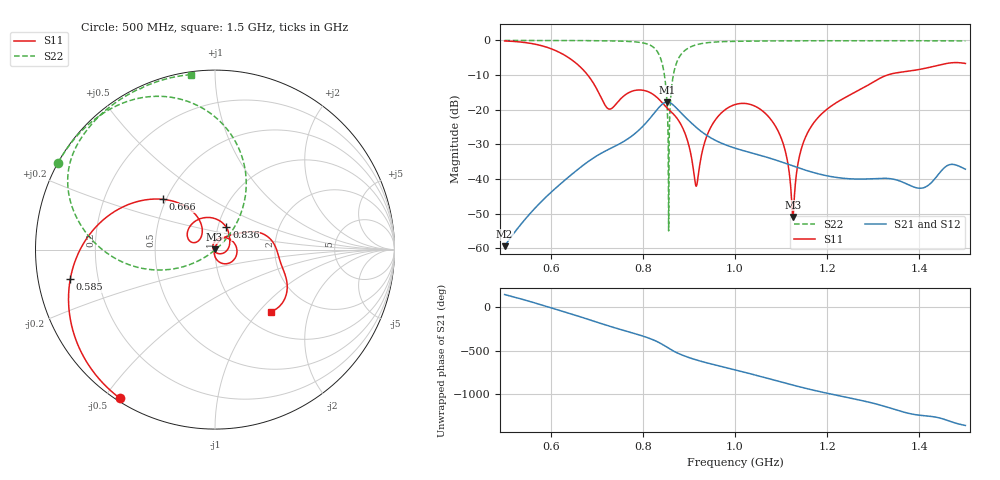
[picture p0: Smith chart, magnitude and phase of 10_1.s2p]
! TOUCHSTONE file generated by CST MICROWAVE STUDIO
! Date and time: Fri Oct  2 18:47:41 2020
! Project name: Scenario_1_Free_Space_out_of_line.cst
! Parameters = {Lambda=346.42; Step_1=17.321; dy1=191.571; dx1=173; L_HA=400; MT=2.54; Rad_Dielectric=30; Rad_Lower=7.3; Rad_Upper=30; a_HA=580; a_WG=246; b_HA=500; b_WG=121; c_HA=0; c_WG=187; d_feed=85; h_feed=15; h_lower=18; h_upper=40}
! Header version: 2018
! Port assignment regex: !\s*Touchstone port\s*([0-9]+)\s*=\s*(CST MWS port|CST DS port)\s*([0-9]+|Zmin|Zmax)\s*\(\"(.*)\"\)(\s*mode\s*([0-9]+))?.*
! Touchstone port assignment:
! Touchstone port 1 = CST MWS port 1 ("")
! Touchstone port 2 = CST MWS port 2 ("")
# GHz S DB R 50
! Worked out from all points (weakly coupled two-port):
!   1003 points, 500 MHz to 1.5 GHz, reference 50 ohm
!   highest |S21| = -17.78 dB at 853 MHz (marker M1); lowest = -59.4 dB at 500 MHz (marker M2)
!   lowest |S11| = -51.0 dB at 1.126 GHz (marker M3), VSWR 1.01, Z = 49.7 + j0.113 ohm
!   |S11| at or under -10 dB: 680.5 MHz to 1.33 GHz (650 MHz wide, 64.6 % of centre)
!   |S22| runs from -55.0 to 0.0 dB; largest |S21 - S12| = 9.5e-06
!   S11 on the Smith chart (normalised r, x): 500 MHz: 0.01, -0.55; 585 MHz: 0.10, -0.10; 666 MHz: 0.48, +0.32; 836 MHz: 1.10, +0.28; 1.5 GHz: 1.32, -1.17
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0.5  -0.15 -122.7  -59.38 148.3  -59.38 148.3  -0.01 151.1
0.585  -1.70 -168.6  -45.82 20.6  -45.82 20.6  -0.01 145.2
0.666  -7.87 136.1  -36.49 -111.2  -36.49 -111.2  -0.04 138.3
0.667  -8.00 135.4  -36.39 -112.9  -36.39 -112.9  -0.05 138.2
0.726  -19.79 141.5  -31.43 146.1  -31.43 146.1  -0.12 131.3
0.834  -16.86 66.1  -19.48 -42.2  -19.48 -42.2  -3.79 82.0
0.836  -17.12 63.1  -19.18 -47.7  -19.18 -47.7  -4.34 78.9
0.847  -18.71 47.5  -17.97 -81.3  -17.97 -81.3  -10.17 58.4
0.853  -19.55 39.6  -17.78 -101.1  -17.78 -101.1  -19.60 45.1
0.859  -20.31 31.4  -18.00 -120.7  -18.00 -120.7  -19.85 -145.2
0.867  -21.35 18.9  -18.76 -144.8  -18.76 -144.8  -9.44 -160.3
0.874  -22.45 6.5  -19.68 -163.3  -19.68 -163.3  -6.17 -170.4
0.916  -42.09 -152.3  -25.10 114.4  -25.10 114.4  -1.26 159.9
0.947  -25.17 81.7  -28.08 69.6  -28.08 69.6  -0.56 149.8
1  -18.51 8.9  -31.09 -0.3  -31.09 -0.3  -0.26 140.1
1.087  -24.58 -79.2  -34.46 -121.2  -34.46 -121.2  -0.13 130.8
1.109  -31.85 -98.1  -35.44 -152.7  -35.44 -152.7  -0.12 128.9
1.126  -50.96 156.2  -36.24 -176.5  -36.24 -176.5  -0.11 127.4
1.142  -32.23 75.9  -36.97 161.8  -36.97 161.8  -0.11 126.1
1.167  -24.51 60.6  -38.01 129.6  -38.01 129.6  -0.10 124.1
1.334  -9.85 8.5  -39.86 -75.7  -39.86 -75.7  -0.09 111.5
1.5  -6.64 -47.9  -37.16 78.9  -37.16 78.9  -0.14 97.7
